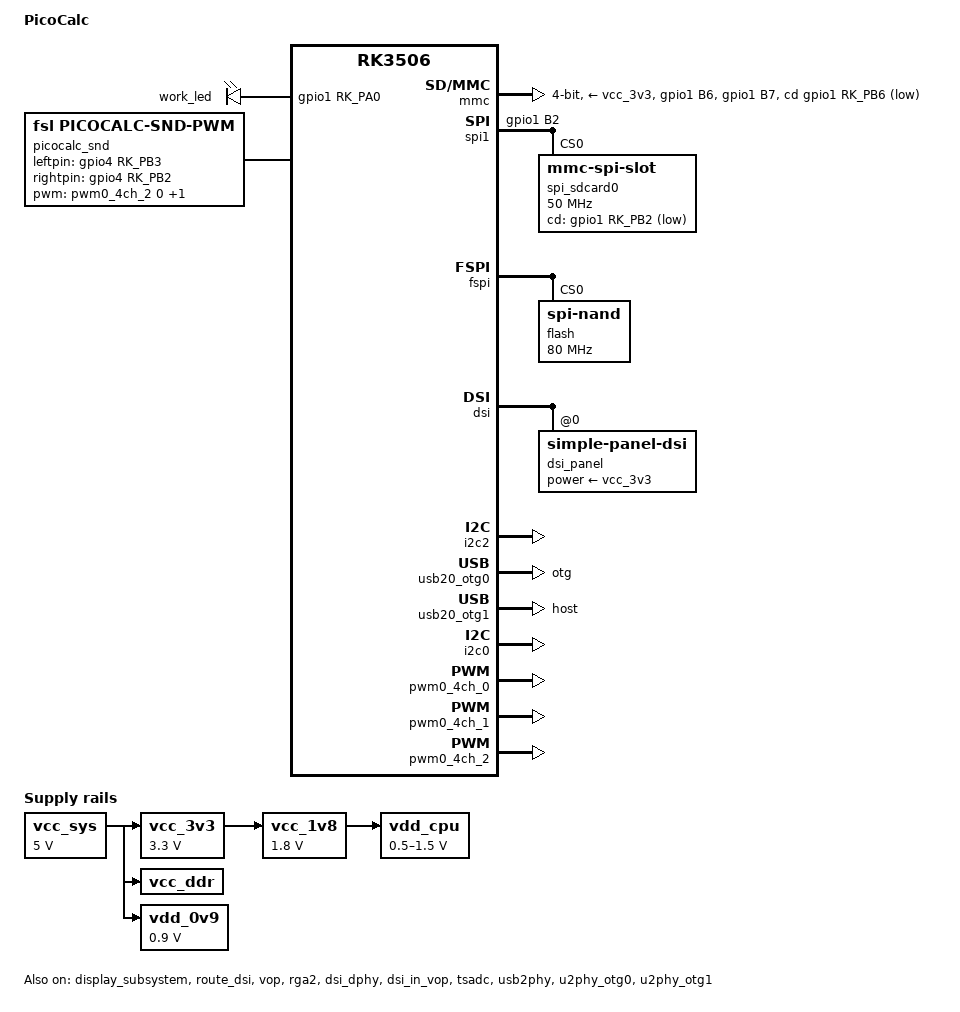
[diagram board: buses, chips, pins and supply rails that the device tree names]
// SPDX-License-Identifier: (GPL-2.0+ OR MIT)
/*
 * Copyright (c) 2024 Rockchip Electronics Co., Ltd.
 * Copyright (c) 2025 nekocharm
 */

/dts-v1/;

#include <dt-bindings/soc/rockchip-amp.h>
#include <dt-bindings/pinctrl/rockchip.h>
#include <dt-bindings/display/drm_mipi_dsi.h>
#include <dt-bindings/display/rockchip_vop.h>
#include <dt-bindings/input/rk-input.h>
#include <dt-bindings/sensor-dev.h>
#include <dt-bindings/suspend/rockchip-rk3506.h>
#include "rk3506.dtsi"

#define CPU_GET_AFFINITY(cluster, cpu)		(cpu)

/ {
	model = "PicoCalc";
	compatible = "rockchip,rk3506";

	chosen {
		bootargs = "earlycon=uart8250,mmio32,0xff0a0000 console=ttyFIQ0 fbcon=font:6x8 fbcon=map:10 storagemedia=sd root=PARTLABEL=rootfs rootfstype=ext4 init=/sbin/pre_init rootwait snd_aloop.index=7 snd_aloop.use_raw_jiffies=1 module_blacklist=rtl8xxxu";
	};

	aliases {
		/* ensure mount mmc first */
		mmc0 = &mmc;
		mmc1 = &spi_sdcard0;
		display0 = &dsi_panel;
	};

	rockchip_amp: rockchip-amp {
		compatible = "rockchip,amp";
		clocks = <&cru HCLK_M0>, <&cru STCLK_M0>,
			<&cru PCLK_TIMER>, <&cru CLK_TIMER0_CH5>,
			<&cru CLK_TIMER0_CH0>, <&cru CLK_TIMER0_CH4>;

		amp-cpu-aff-maskbits = /bits/ 64 <0x0 0x1 0x1 0x2 0x2 0x4>;
		amp-irqs = /bits/ 64 <
			/* TIMER0 */
			GIC_AMP_IRQ_CFG_ROUTE(126, 0xd0, CPU_GET_AFFINITY(0, 2))
			/* TIMER4 */
			GIC_AMP_IRQ_CFG_ROUTE(130, 0xd0, CPU_GET_AFFINITY(0, 2))>;
		status = "okay";
	};

	mcu_log: mculog {
		compatible = "picocalc,mculog";
		memory-region = <&shmem_reserved>;
		shmem-offset = <0x20>;
		shmem-length = <0x7fe0>;
	};

	fiq_debugger: fiq-debugger {
		compatible = "rockchip,fiq-debugger";
		rockchip,serial-id = <0>;
		rockchip,wake-irq = <0>;
		rockchip,irq-mode-enable = <1>;
		rockchip,baudrate = <1500000>;	/* Only 115200 and 1500000 */
		interrupts = <GIC_SPI 115 IRQ_TYPE_LEVEL_HIGH>;
	};

	leds: leds {
		compatible = "gpio-leds";
		work_led: work-led {
			gpios = <&gpio1 RK_PA0 GPIO_ACTIVE_HIGH>;
			linux,default-trigger = "heartbeat";
		};
	};

	backlight: backlight {
		compatible = "pwm-backlight";
		pwms = <&pwm0_4ch_3 0 25000 0>;
		brightness-levels = <
			  0  20  20  21  21  22  22  23
			 23  24  24  25  25  26  26  27
			 27  28  28  29  29  30  30  31
			 31  32  32  33  33  34  34  35
			 35  36  36  37  37  38  38  39
			 40  41  42  43  44  45  46  47
			 48  49  50  51  52  53  54  55
			 56  57  58  59  60  61  62  63
			 64  65  66  67  68  69  70  71
			 72  73  74  75  76  77  78  79
			 80  81  82  83  84  85  86  87
			 88  89  90  91  92  93  94  95
			 96  97  98  99 100 101 102 103
			104 105 106 107 108 109 110 111
			112 113 114 115 116 117 118 119
			120 121 122 123 124 125 126 127
			128 129 130 131 132 133 134 135
			136 137 138 139 140 141 142 143
			144 145 146 147 148 149 150 151
			152 153 154 155 156 157 158 159
			160 161 162 163 164 165 166 167
			168 169 170 171 172 173 174 175
			176 177 178 179 180 181 182 183
			184 185 186 187 188 189 190 191
			192 193 194 195 196 197 198 199
			200 201 202 203 204 205 206 207
			208 209 210 211 212 213 214 215
			216 217 218 219 220 221 222 223
			224 225 226 227 228 229 230 231
			232 233 234 235 236 237 238 239
			240 241 242 243 244 245 246 247
			248 249 250 251 252 253 254 255
		>;
		default-brightness-level = <200>;
		status = "disabled";
	};

	picocalc_snd: picocalc-snd-pwm {
		compatible = "fsl,picocalc-snd-pwm";
		pwms = <&pwm0_4ch_2 0 25000 0>, <&pwm0_4ch_1 0 25000 0>;
        pwm-names = "pwm-snd-left", "pwm-snd-right";
        pinctrl-names = "default";
        pinctrl-0 = <&snd_pins>;
		leftpin = <&gpio4 RK_PB3 GPIO_ACTIVE_HIGH>;
		rightpin = <&gpio4 RK_PB2 GPIO_ACTIVE_HIGH>;
		status = "okay";
	};

	vcc_sys: vcc-sys {
		compatible = "regulator-fixed";
		regulator-name = "vcc_sys";
		regulator-always-on;
		regulator-boot-on;
		regulator-min-microvolt = <5000000>;
		regulator-max-microvolt = <5000000>;
	};

	vcc_3v3: vcc-3v3 {
		compatible = "regulator-fixed";
		regulator-name = "vcc_3v3";
		regulator-always-on;
		regulator-boot-on;
		regulator-min-microvolt = <3300000>;
		regulator-max-microvolt = <3300000>;
		vin-supply = <&vcc_sys>;
	};

	vcc_1v8: vcc-1v8 {
		compatible = "regulator-fixed";
		regulator-name = "vcc_1v8";
		regulator-always-on;
		regulator-boot-on;
		regulator-min-microvolt = <1800000>;
		regulator-max-microvolt = <1800000>;
		vin-supply = <&vcc_3v3>;
	};

	//1.8V
	vcc_ddr: vcc-ddr {
		compatible = "regulator-fixed";
		regulator-name = "vcc_ddr";
		regulator-always-on;
		regulator-boot-on;
		vin-supply = <&vcc_sys>;
	};

	vdd_0v9: vdd-0v9 {
		compatible = "regulator-fixed";
		regulator-name = "vdd_0v9";
		regulator-always-on;
		regulator-boot-on;
		regulator-min-microvolt = <900000>;
		regulator-max-microvolt = <900000>;
		vin-supply = <&vcc_sys>;
	};

	vdd_cpu: vdd-cpu {
		compatible = "pwm-regulator";
		pwms = <&pwm0_4ch_0 0 5000 1>;
		regulator-name = "vdd_cpu";
		regulator-min-microvolt = <500000>;
		regulator-max-microvolt = <1500000>;
		regulator-init-microvolt = <500000>;
		regulator-always-on;
		regulator-boot-on;
		regulator-settling-time-up-us = <250>;
		pwm-supply = <&vcc_1v8>;
	};
};

/**********cpu**********/
&cpu0 {
	cpu-supply = <&vdd_cpu>;
	status = "okay";
};

/**********media**********/
&mmc {
	/* For SDMMC */
	max-frequency = <52000000>;
	bus-width = <4>;
	no-sdio;
	no-mmc;
	cap-mmc-highspeed;
	cap-sd-highspeed;
	cd-gpios = <&gpio1 RK_PB6 GPIO_ACTIVE_LOW>; //det
	disable-wp;
	pinctrl-names = "default";
	pinctrl-0 = <&sdmmc_clk_pins &sdmmc_cmd_pins &sdmmc_bus4_pins &sdmmc_det &sdmmc_pwren>;
	vqmmc-supply = <&vcc_3v3>;
	vmmc-supply = <&vcc_3v3>;
	status = "okay";
};

&spi1 {
	num-cs = <1>;
	pinctrl-names = "default";
	pinctrl-0 = <&rm_io28_spi1_mosi &rm_io29_spi1_clk &rm_io30_spi1_csn0 &rm_io31_spi1_miso &sdcard_det>;
	status = "okay";
	spi_sdcard0: spi-sdcard@0 {
		compatible = "mmc-spi-slot";
        reg = <0>;
        spi-max-frequency = <50000000>;
        voltage-ranges = <3300 3300>;
        cd-gpios = <&gpio1 RK_PB2 GPIO_ACTIVE_LOW>;
		status = "okay";
	};
};

&fspi {
	status = "okay";

	flash@0 {
		compatible = "spi-nand";
		reg = <0>;
		spi-max-frequency = <80000000>;
		spi-rx-bus-width = <4>;
		spi-tx-bus-width = <1>;
	};
};

/**********reserved memory**********/
&reserved_memory {
	/* mcu address */
	mcu_reserved: mcu@fff80000 {
		reg = <0xfff80000 0xc000>;
		no-map;
	};

	/* 0x20~0x8000 for log*/
	shmem_reserved: shmem@3c00000 {
		reg = <0x03c00000 0x8000>;
		no-map;
		no-cache;
	};
};

/**********display**********/
&cma {
	size = <0x2000000>;
};

&display_subsystem {
	logo-memory-region = <&drm_logo>;
	status = "okay";
};

&route_dsi{
	status = "okay";
};

&vop {
	status = "okay";
};

&rga2 {
	status = "okay";
};

&pwm0_4ch_3 {
	pinctrl-names = "active";
	pinctrl-0 = <&rm_io15_pwm0_ch3>;
	status = "okay";
};

&dsi {
	status = "okay";

	dsi_panel: panel@0 {
		status = "okay";
		compatible = "simple-panel-dsi";
		reg = <0>;
		//backlight = <&ws_bl>;
		power-supply = <&vcc_3v3>;

		//reset-gpios = <&gpio0 RK_PB5 GPIO_ACTIVE_LOW>;
		prepare-delay-ms = <120>;
		reset-delay-ms = <120>;
		init-delay-ms = <120>;
		disable-delay-ms = <120>;
		unprepare-delay-ms = <120>;

		dsi,flags = <(MIPI_DSI_MODE_VIDEO | MIPI_DSI_MODE_VIDEO_BURST | MIPI_DSI_MODE_LPM | MIPI_DSI_MODE_NO_EOT_PACKET )>;
		dsi,format = <MIPI_DSI_FMT_RGB888>;
		dsi,lanes  = <2>;  // FL7707N uses 2 lanes (0x31 in init code)

		// 3.97inch FL7707N
		width-mm = <80>;
		height-mm = <80>;

        /**
         * DSI Command Sequence
         * A byte stream formed by simple multiple dcs packets.
         * byte 0 - dcs data type
         * byte 1 - wait number of specified ms after dcs command transmitted
         * byte 2 - packet payload length
         * byte 3 - and beyond: number byte of payload

         DSI Command data type reference:
         https://forum.armsom.org/t/rk3588-mipi-display-debugging-rk3588-mipi-dsi-lcd-power-up-initialization-sequence/147
         
         0x05  Command type: Single byte data (DCS Short Write, no parameters) 
         0x15  Command type: Two byte data (DCS Short Write, 1 parameter)
         0x39  Command type: Multi byte data (DCS Long Write, n parameters n > 2)
         0x03 Command type: Single byte data  (Generic Short Write, no parameters)
         0x13 Command type: Two byte data (Generic Short Write, 1 parameter)
         0x23 Command type: Three byte data  (Generic Short Write, 2 parameters)
         0x29 Command type: Multi byte data  (Generic Long Write, n parameters n > 2)
         */

        // Unclear if 29h is the right command type for all these commands.
        // May need to use 05h, 15h, 39h, etc. based on parameter count.
		// 720x720 FL7707N panel init sequence converted from datasheet
		panel-init-sequence = [
			39 00 04 B9 F1 12 87
			39 00 04 B2 B4 03 70
			39 00 0B B3 10 10 28 28 03 FF 00
				 00 00 00
			39 00 02 B4 80
			39 00 03 B5 0A 0A
			39 00 03 B6 8D 8D
			39 00 05 B8 26 22 F0 13
			39 00 1C BA 31 81 05 F9 0E 0E 20
				 00 00 00 00 00 00 00 44 25 00
				 91 0A 00 00 01 4F 01 00 00 37
			39 00 02 BC 47
			39 00 06 BF 02 10 00 80 04
			39 00 0A C0 73 73 50 50 00 00 12
				 73 00
			39 00 12 C1 36 00 32 32 77 E1 77
				 77 CC CC FF FF 11 11 00 00 32
			39 00 0D C7 10 00 0A 00 00 00 00
				 00 ED C5 00 A5
			39 00 05 C8 10 40 1E 03
			39 00 02 CC 0B
			39 00 23 E0 00 0A 0F 2A 33 3F 44 39
				 06 0C 0E 14 15 13 15 10 18 00 0A
				 0F 2A 33 3F 44 39 06 0C 0E 14 15
				 13 15 10 18
			39 00 08 E1 11 11 91 00 00 00 00
			39 00 0F E3 07 07 0B 0B 0B 0B 00 00
				 00 00 FF 04 C0 10
			39 00 40 E9 C8 10 0A 00 00 80 81 12
				 31 23 4F 86 A0 00 47 08 00 00 0C
				 00 00 00 00 00 0C 00 00 00 98 02
				 8B AF 46 02 88 88 88 88 88 98 13
				 8B AF 57 13 88 88 88 88 88 00 00
				 00 00 00 00 00 00 00 00 00 00 00
			39 00 3E EA 97 0C 09 09 09 78 00 00
				 00 00 00 9F 31 8B A8 31 75 88 88
				 88 88 88 9F 20 8B A8 20 64 88 88
				 88 88 88 23 00 00 02 71 00 00 00
				 00 00 00 00 00 00 00 00 40 80 81
				 00 00 00 00 00 00
			39 00 04 EF FF FF 01
			05 FA 02 11 00
			05 32 02 29 00
		];

		disp_timings0: display-timings {
			native-mode = <&fl7707n_720_720>;

			fl7707n_720_720: fl7707n-720-720 {
				clock-frequency = <36000000>;

				hactive = <720>;
				vactive = <720>;

				vsync-len = <4>;    // VSA from datasheet
				vback-porch = <20>; // VBP from datasheet
				vfront-porch = <20>; // VFP from datasheet

				hsync-len = <60>;    // HSA from datasheet
				hback-porch = <120>; // HBP from datasheet
				hfront-porch = <106>; // HFP from datasheet

				vsync-active = <0>;
				hsync-active = <0>;
				de-active = <0>;
				pixelclk-active =<0>;
			};
		};

	};
};

&dsi_dphy {
	status = "okay";
};

&dsi_in_vop {
	status = "okay";
};

&dsi_panel {
	power-supply = <&vcc_3v3>;
};

&i2c2{
	status = "okay";
	pinctrl-names = "default";
	pinctrl-0 = <&rm_io1_i2c2_scl &rm_io0_i2c2_sda>;
};

/**********adc**********/
&tsadc {
	status = "okay";
};

/**********usb**********/
&usb20_otg0 {
	dr_mode = "otg";
	usb-role-switch;
	role-switch-default-mode = "peripheral";
	adp-disable;
	srp-disable;
	status = "okay";
};

&usb20_otg1 {
	dr_mode = "host";
	status = "okay";
};

&usb2phy {
	status = "okay";
};

&u2phy_otg0 {
	status = "okay";
};

&u2phy_otg1 {
	status = "okay";
};


/**********i2c**********/
&i2c0{
	status = "okay";
	pinctrl-names = "default";
	pinctrl-0 = <&rm_io10_i2c0_scl &rm_io11_i2c0_sda>;
/*
	keyboard: keyboard@1f {
		status = "okay";
		compatible = "picocalc,picocalc-keyboard";
		reg = <0x1f>;
	};

    rtc: rtc@68 {
        compatible = "dallas,ds3231";
        reg = <0x68>;
        status = "okay";
    };
*/
};

/**********spi**********/
&spi0 {
	num-cs = <1>;
	pinctrl-names = "default";
	pinctrl-0 = <&rm_io4_spi0_csn0 &rm_io5_spi0_miso &rm_io6_spi0_mosi &rm_io7_spi0_clk>;
	status = "disabled";
	spi_lcd0: spi-lcd@0 {
		compatible = "ilitek,ili9488";
		reg = <0>;
		spi-max-frequency = <80000000>;
		pinctrl-names = "default";
    	pinctrl-0 = <&lcd_pins>;
        dc-gpios = <&gpio0 RK_PA3 GPIO_ACTIVE_HIGH>;
        reset-gpios = <&gpio0 RK_PA2 GPIO_ACTIVE_HIGH>;
        rotate = <0>;
        width = <320>;
        height = <320>;
        buswidth = <8>;
		status = "disabled";
	};
};

/**********dma**********/
&dmac0 {
	arm,pl330-mcbufsz-bytes = <1024>;
};

/**********pwm**********/
&pwm0_4ch_0 {
	pinctrl-names = "active";
	pinctrl-0 = <&rm_io21_pwm0_ch0>;
	assigned-clocks = <&cru CLK_PWM0>;
	assigned-clock-rates = <100000000>;
	status = "okay";
};

&pwm0_4ch_1 {
        pinctrl-names = "active";
        pinctrl-0 = <&rm_io12_pwm0_ch1>;
        status = "okay";
        assigned-clocks = <&cru CLK_PWM0>;
        assigned-clock-rates = <100000000>;
};

&pwm0_4ch_2 {
		pinctrl-names = "active";
		pinctrl-0 = <&rm_io13_pwm0_ch2>;
		status = "okay";
		assigned-clocks = <&cru CLK_PWM0>;
		assigned-clock-rates = <100000000>;
};

&pwm0_4ch_3 {
		pinctrl-names = "active";
		pinctrl-0 = <&rm_io15_pwm0_ch3>;
		status = "disabled";
		assigned-clocks = <&cru CLK_PWM0>;
		assigned-clock-rates = <100000000>;
};

/**********display**********/
&rga2 {
	status = "okay";
};

&vop {
	status = "okay";
};

/**********pinctrl**********/
&pinctrl {
	sdmmc {
		/omit-if-no-ref/
		sdmmc_pwren: sdmmc-pwren {
			rockchip,pins = <1 RK_PB7 RK_FUNC_GPIO &pcfg_pull_down>;
		};

		sdmmc_det: sdmmc-det {
			rockchip,pins = <1 RK_PB6 RK_FUNC_GPIO &pcfg_pull_down>;
		};
	};

	sdcard {
		sdcard_det: sdcard-det {
			rockchip,pins = <1 RK_PB2 RK_FUNC_GPIO &pcfg_pull_none>;
		};
	};

	lcd {
		lcd_pins: lcd-pins {
			rockchip,pins = 
				<0 RK_PA3 RK_FUNC_GPIO &pcfg_pull_none>,
				<0 RK_PA2 RK_FUNC_GPIO &pcfg_pull_none>;
		};
	};

	picocalc_snd {
		snd_pins: snd-pins {
			rockchip,pins = 
				<4 RK_PB2 RK_FUNC_GPIO &pcfg_pull_none>,
				<4 RK_PB3 RK_FUNC_GPIO &pcfg_pull_none>;
		};
	};
};
